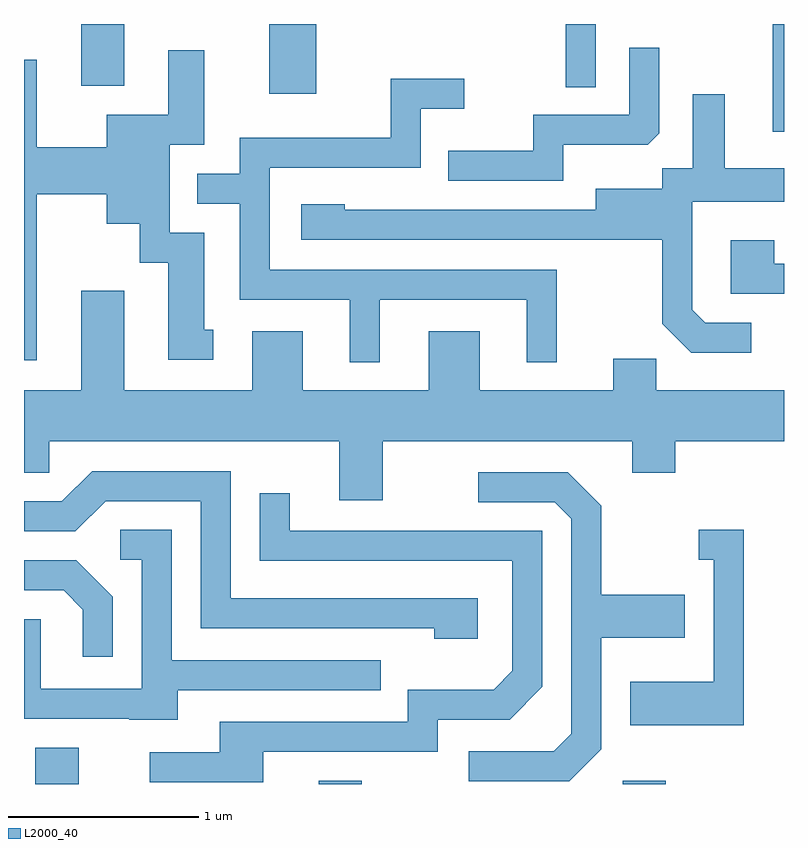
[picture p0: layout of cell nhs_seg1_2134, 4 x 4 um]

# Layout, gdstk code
import gdstk
lib = gdstk.Library(unit=1e-6, precision=1e-09)
def R(c, l, rs):  # rectangles x0, y0, x1, y1
    for r in rs: c.add(gdstk.rectangle(r[:2], r[2:], *l))
def P(c, l, *ps):  # polygons
    for p in ps: c.add(gdstk.Polygon(p, *l))
L2000_40 = (2000, 40)

nhs_seg1_2134 = lib.new_cell('nhs_seg1_2134')
R(nhs_seg1_2134, L2000_40, [(249.671,957.712,249.899,957.904), (251.161,957.712,251.389,957.729), (252.761,957.712,252.989,957.729), (253.551,961.146,253.611,961.712), (250.901,961.346,251.149,961.712), (252.461,961.378,252.619,961.712), (249.911,961.386,250.139,961.712)])
P(nhs_seg1_2134, L2000_40, [(252.449,961.076),(252.894,961.076),(252.954,961.137),(252.954,961.588),(252.796,961.588),(252.796,961.234),(252.291,961.234),(252.291,961.044),(251.843,961.044),(251.843,960.886),(252.449,960.886)],
  [(249.679,960.816),(250.046,960.816),(250.046,960.661),(250.221,960.661),(250.221,960.456),(250.371,960.456),(250.371,959.946),(250.608,959.946),(250.608,960.104),(250.559,960.104),(250.559,960.614),(250.379,960.614),(250.379,961.076),(250.559,961.076),(250.559,961.574),(250.371,961.574),(250.371,961.234),(250.046,961.234),(250.046,961.064),(249.679,961.064),(249.679,961.524),(249.611,961.524),(249.611,959.941),(249.679,959.941)],
  [(251.484,960.261),(252.256,960.261),(252.256,959.933),(252.414,959.933),(252.414,960.419),(250.904,960.419),(250.904,960.956),(251.699,960.956),(251.699,961.266),(251.928,961.266),(251.928,961.424),(251.541,961.424),(251.541,961.114),(250.746,961.114),(250.746,960.924),(250.523,960.924),(250.523,960.766),(250.746,960.766),(250.746,960.261),(251.326,960.261),(251.326,959.933),(251.484,959.933)],
  [(253.438,960.139),(253.197,960.139),(253.129,960.207),(253.129,960.776),(253.611,960.776),(253.611,960.954),(253.299,960.954),(253.299,961.343),(253.131,961.343),(253.131,960.954),(252.971,960.954),(252.971,960.844),(252.621,960.844),(252.621,960.734),(251.299,960.734),(251.299,960.764),(251.071,960.764),(251.071,960.576),(252.971,960.576),(252.971,960.134),(253.124,959.981),(253.438,959.981)],
  [(253.611,960.449),(253.559,960.449),(253.559,960.574),(253.331,960.574),(253.331,960.291),(253.611,960.291)],
  [(251.499,959.516),(252.811,959.516),(252.811,959.351),(253.039,959.351),(253.039,959.516),(253.611,959.516),(253.611,959.784),(252.939,959.784),(252.939,959.949),(252.711,959.949),(252.711,959.784),(252.009,959.784),(252.009,960.094),(251.741,960.094),(251.741,959.784),(251.079,959.784),(251.079,960.094),(250.811,960.094),(250.811,959.784),(250.139,959.784),(250.139,960.309),(249.911,960.309),(249.911,959.784),(249.611,959.784),(249.611,959.351),(249.744,959.351),(249.744,959.516),(251.271,959.516),(251.271,959.206),(251.499,959.206)],
  [(251.999,958.689),(250.699,958.689),(250.699,959.359),(249.969,959.359),(249.809,959.199),(249.611,959.199),(249.611,959.041),(249.882,959.041),(250.042,959.201),(250.541,959.201),(250.541,958.531),(251.771,958.531),(251.771,958.476),(251.999,958.476)],
  [(252.649,957.894),(252.649,958.481),(253.089,958.481),(253.089,958.709),(252.649,958.709),(252.649,959.177),(252.472,959.354),(252.003,959.354),(252.003,959.196),(252.404,959.196),(252.491,959.109),(252.491,957.977),(252.399,957.884),(251.953,957.884),(251.953,957.726),(252.482,957.726)],
  [(250.869,957.881),(251.789,957.881),(251.789,958.051),(252.167,958.051),(252.339,958.224),(252.339,959.044),(251.009,959.044),(251.009,959.243),(250.851,959.243),(250.851,958.886),(252.181,958.886),(252.181,958.307),(252.084,958.209),(251.631,958.209),(251.631,958.039),(250.641,958.039),(250.641,957.879),(250.273,957.879),(250.273,957.721),(250.869,957.721)],
  [(253.399,959.049),(253.163,959.049),(253.163,958.891),(253.241,958.891),(253.241,958.249),(252.801,958.249),(252.801,958.021),(253.399,958.021)],
  [(250.419,958.206),(251.488,958.206),(251.488,958.364),(250.389,958.364),(250.389,959.049),(250.118,959.049),(250.118,958.891),(250.231,958.891),(250.231,958.214),(249.699,958.214),(249.699,958.579),(249.611,958.579),(249.611,958.056),(250.165,958.056),(250.165,958.051),(250.419,958.051)],
  [(250.079,958.697),(249.887,958.889),(249.611,958.889),(249.611,958.731),(249.819,958.731),(249.921,958.629),(249.921,958.383),(250.079,958.383)])

lib.write_gds('nhs_seg1_2134.gds')
